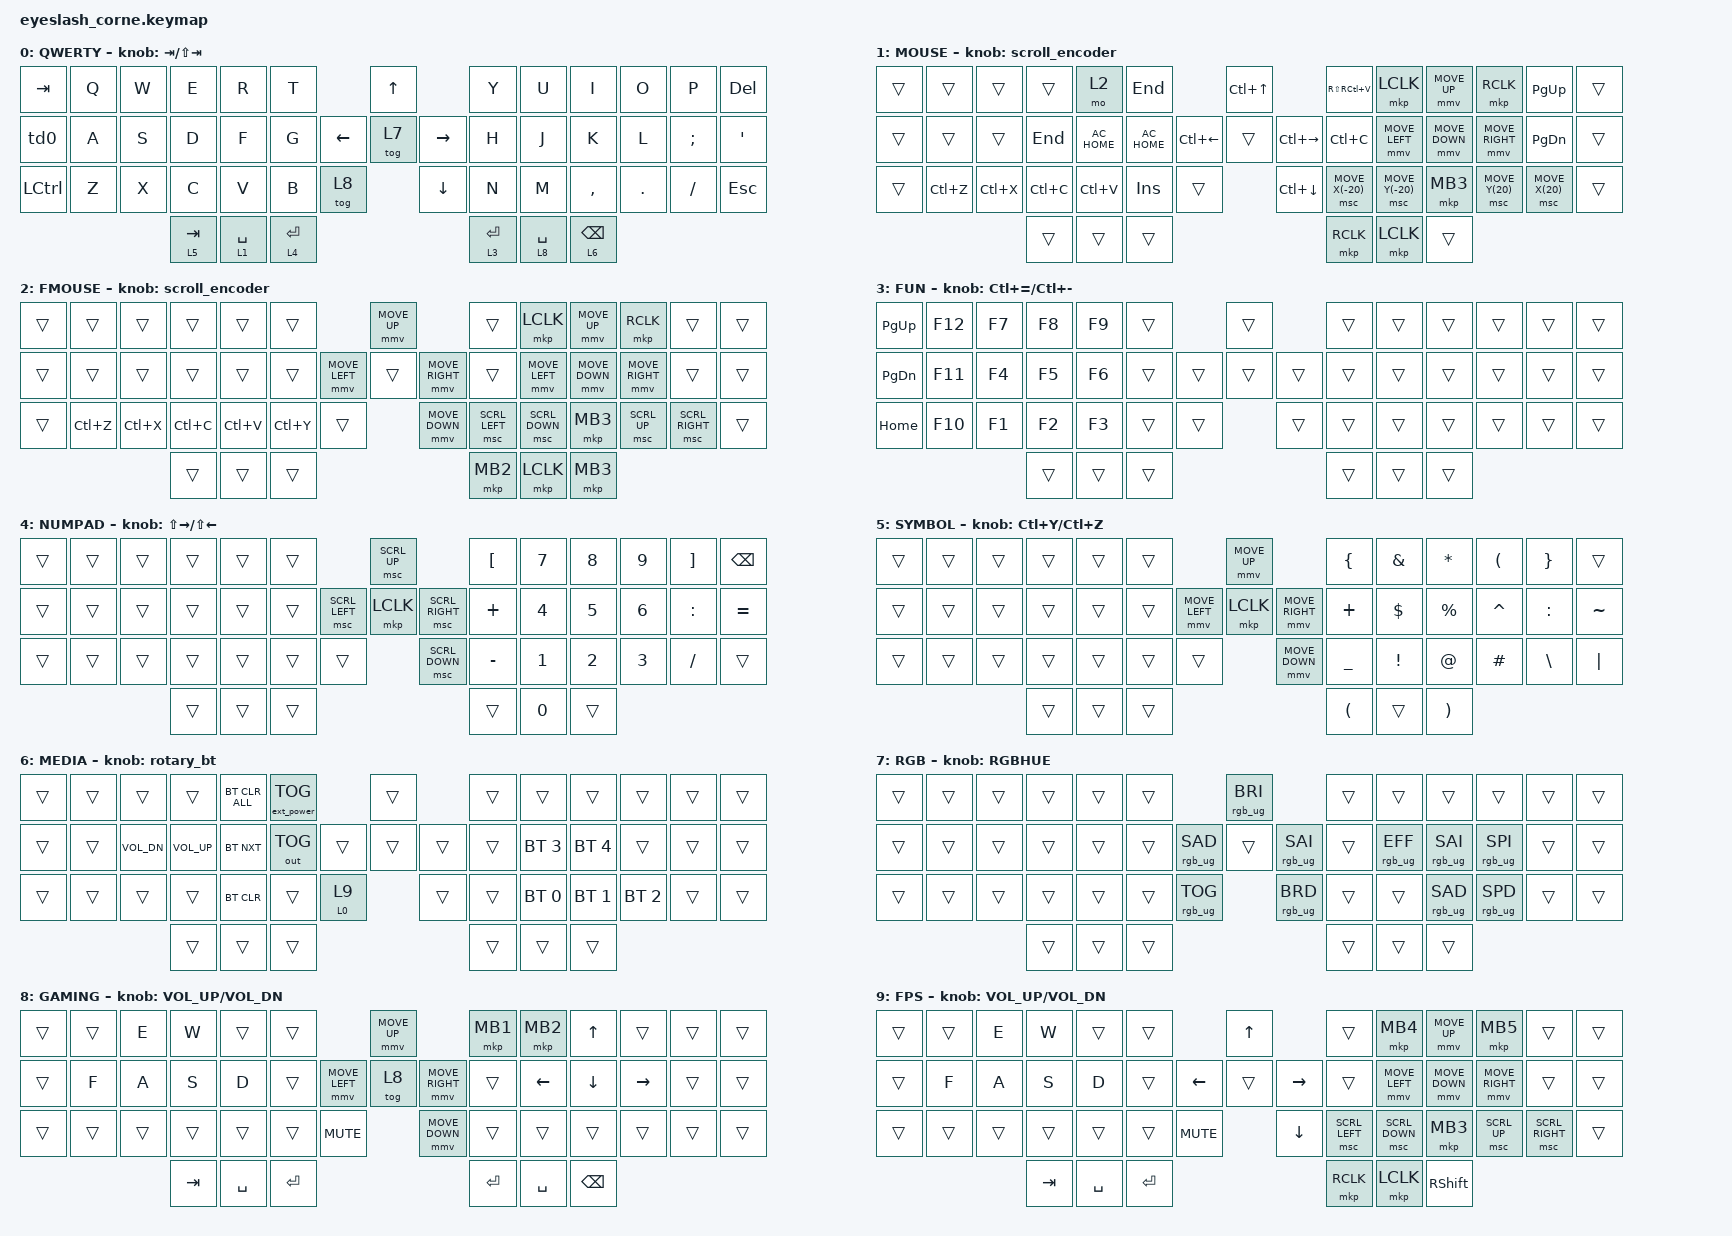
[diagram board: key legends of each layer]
#define  ZMK_POINTING_DEFAULT_MOVE_VAL 1200  // 600
#define ZMK_POINTING_DEFAULT_SCRL_VAL 100   // 50

#include <input/processors.dtsi>
#include <zephyr/dt-bindings/input/input-event-codes.h>
#include <behaviors.dtsi>
#include <dt-bindings/zmk/bt.h>
#include <dt-bindings/zmk/ext_power.h>
#include <dt-bindings/zmk/keys.h>
#include <dt-bindings/zmk/outputs.h>
#include <dt-bindings/zmk/pointing.h>
#include <dt-bindings/zmk/rgb.h>

&mmv_input_listener {
    input-processors = <&zip_xy_scaler 2 1>;

    fast-input {
        layers = <5>;
        input-processors = <&zip_xy_scaler 4 1>;
    };
};

&msc {
    acceleration-exponent = <1>;        // 1
    time-to-max-speed-ms = <100>;       // 100
    delay-ms = <0>;                   // 0
};

&mmv {
    time-to-max-speed-ms = <500>;
    acceleration-exponent = <1>;
    trigger-period-ms = <16>;
};

/ {
    behaviors {
        td0: td0 {
            compatible = "zmk,behavior-tap-dance";
            display-name = "Shift/Caps Lock Tap Dance";
            #binding-cells = <0>;
            bindings = <&kp LEFT_SHIFT>, <&kp CAPS>;
        };

        rotary_toggle: rotary_toggle {
            compatible = "zmk,behavior-hold-tap";
            label = "ROTARY_TOGGLE";
            bindings = <&tog>, <&kp>;

            #binding-cells = <2>;
            tapping-term-ms = <1>;
            flavor = "balanced";
            require-prior-idle-ms = <75>;
        };

        rotary_rgb_toggle: rotary_rgb_toggle {
            compatible = "zmk,behavior-hold-tap";
            label = "ROTARY_RGB_TOGGLE";
            bindings = <&to>, <&rgb_ug>;

            #binding-cells = <2>;
            tapping-term-ms = <1>;
        };

        rotary_bt: rotary_bt {
            compatible = "zmk,behavior-sensor-rotate";
            label = "ROTARY_BT";
            #sensor-binding-cells = <0>;
            bindings = <&bt BT_NXT>, <&bt BT_PRV>;
        };

        AppSwitch: AppSwitch {
            compatible = "zmk,behavior-sensor-rotate";
            label = "APPSWITCH";
            #sensor-binding-cells = <0>;
            bindings = <&FApp>, <&RAlt>;
        };

        slow_scroll: slow_scroll {
            compatible = "zmk,behavior-sensor-rotate";
            #sensor-binding-cells = <0>;
            bindings = <&msc MOVE_Y(-5)>, <&msc MOVE_Y(5)>;

            tap-ms = <100>;
            label = "SLOW_SCROLL";
        };

        RGBHUE: RGBHUE {
            compatible = "zmk,behavior-sensor-rotate";
            #sensor-binding-cells = <0>;
            bindings = <&rgb_ug RGB_HUI>, <&rgb_ug RGB_HUD>;

            label = "RGBHUE";
        };

        RGBSAT: RGBSAT {
            compatible = "zmk,behavior-sensor-rotate";
            #sensor-binding-cells = <0>;
            bindings = <&rgb_ug RGB_SAI>, <&rgb_ug RGB_SAD>;

            label = "RGBSAT";
        };

        RGBSPD: RGBSPD {
            compatible = "zmk,behavior-sensor-rotate";
            #sensor-binding-cells = <0>;
            bindings = <&rgb_ug RGB_SPI>, <&rgb_ug RGB_SPD>;

            label = "RGBSPD";
        };

        SYSTOG: SYSTOG {
            compatible = "zmk,behavior-hold-tap";
            label = "SYSTOG";
            bindings = <&to>, <&tog>;

            #binding-cells = <2>;
            flavor = "tap-preferred";
            tapping-term-ms = <500>;
        };

        SYSTO: SYSTO {
            compatible = "zmk,behavior-hold-tap";
            label = "SYSTO";
            bindings = <&to>, <&to>;

            #binding-cells = <2>;
            flavor = "tap-preferred";
            tapping-term-ms = <500>;
        };

        TAPTO: TAPTO {
            compatible = "zmk,behavior-hold-tap";
            label = "TAPTO";
            bindings = <&to>, <&gresc>;

            #binding-cells = <2>;
            flavor = "tap-preferred";
            tapping-term-ms = <500>;
        };
    };

    rgb_encoder: rgb_encoder {
        compatible = "zmk,behavior-sensor-rotate";
        #sensor-binding-cells = <0>;
        bindings = <&rgb_ug RGB_BRI>, <&rgb_ug RGB_BRD>;
    };

    scroll_encoder: scroll_encoder {
        compatible = "zmk,behavior-sensor-rotate";
        #sensor-binding-cells = <0>;
        bindings = <&msc MOVE_Y(-20)>, <&msc MOVE_Y(20)>;

        tap-ms = <100>;
    };

    combos {
        compatible = "zmk,combos";

        LeftAlt {
            bindings = <&kp LEFT_ALT>;
            key-positions = <17 16>;
            layers = <1 4 5 0 3>;
        };

        LeftShift {
            bindings = <&td0>;
            key-positions = <16 15>;
            layers = <5 4 1 0 3>;
        };

        LeftCtrl {
            bindings = <&kp LEFT_CONTROL>;
            key-positions = <15 14>;
            layers = <1 4 5 0 3>;
        };

        LeftSuper {
            bindings = <&kp LEFT_WIN>;
            key-positions = <14 17>;
            layers = <1 4 5 0 3>;
        };

        RSuper {
            bindings = <&kp RIGHT_WIN>;
            key-positions = <26 23>;
            layers = <3 0 4 5>;
        };

        RCtrl {
            bindings = <&kp RIGHT_CONTROL>;
            key-positions = <25 26>;
            layers = <3 0 4 5>;
        };

        RShift {
            bindings = <&td0>;
            key-positions = <24 25>;
            layers = <3 0 4 5>;
        };

        RAlt {
            bindings = <&kp RIGHT_ALT>;
            key-positions = <23 24>;
            layers = <3 0 4 5>;
        };

        Mouselock {
            bindings = <&tog 1>;
            key-positions = <43 17>;
            layers = <1 4 3 5 9 0 8>;
        };

        FunLock {
            bindings = <&tog 3>;
            key-positions = <23 45>;
            layers = <5 0>;
        };

        NumLock {
            bindings = <&tog 4>;
            key-positions = <17 44>;
            layers = <4 0>;
        };

        SymLock {
            bindings = <&tog 5>;
            key-positions = <17 42>;
            layers = <5 0>;
        };

        MediaLock {
            bindings = <&tog 6>;
            key-positions = <23 47>;
            layers = <6 0>;
        };

        LDefault {
            bindings = <&to 0>;
            key-positions = <13 17>;
            layers = <0 1 3 4 5 9 6 2 7 8>;
        };

        RDefault {
            bindings = <&to 0>;
            key-positions = <23 27>;
            layers = <9 1 3 0 4 5 6 2 7 8>;
        };

        LRPT {
            bindings = <&key_repeat>;
            key-positions = <31 32>;
            layers = <9 3 4 5 1 0>;
        };

        RRPT {
            bindings = <&key_repeat>;
            key-positions = <37 38>;
            layers = <9 3 4 5 1 0>;
        };

        GameLock {
            bindings = <&tog 8>;
            key-positions = <23 46>;
            layers = <1 4 3 5 6 0 8>;
        };
    };

    macros {
        FApp: FApp {
            compatible = "zmk,behavior-macro";
            #binding-cells = <0>;
            bindings = <&kp RIGHT_ALT &kp LEFT_WIN &kp TAB>;
            label = "FAPP";
        };

        RAlt: RApp {
            compatible = "zmk,behavior-macro";
            #binding-cells = <0>;
            bindings = <&kp LEFT_ALT &kp LEFT_WIN &kp LEFT_SHIFT &kp TAB>;
            label = "RAPP";
        };
    };

    keymap {
        compatible = "zmk,keymap";

        BASE {
            display-name = "QWERTY";
            bindings = <
&kp TAB    &kp Q  &kp W  &kp E      &kp R        &kp T                            &kp UP               &kp Y         &kp U        &kp I            &kp O    &kp P     &kp DELETE
&td0       &kp A  &kp S  &kp D      &kp F        &kp G                  &kp LEFT  &tog 7    &kp RIGHT  &kp H         &kp J        &kp K            &kp L    &kp SEMI  &kp SQT
&kp LCTRL  &kp Z  &kp X  &kp C      &kp V        &kp B        &tog 8              &kp DOWN             &kp N         &kp M        &kp COMMA        &kp DOT  &kp FSLH  &kp ESC
                         &lt 5 TAB  &lt 1 SPACE  &lt 4 ENTER                                           &lt 3 RETURN  &lt 8 SPACE  &lt 6 BACKSPACE
            >;

            sensor-bindings = <&inc_dec_kp TAB LS(TAB)>;
        };

        Mouse_Layer {
            display-name = "MOUSE";
            bindings = <
&trans  &trans     &trans     &trans     &mo 2          &kp END                                &kp LC(UP_ARROW)                   &kp RS(RC(V))     &mkp LCLK         &mmv MOVE_UP    &mkp RCLK        &kp PAGE_UP      &trans
&trans  &trans     &trans     &kp END    &kp C_AC_HOME  &kp C_AC_HOME            &kp LC(LEFT)  &trans              &kp LC(RIGHT)  &kp LC(C)         &mmv MOVE_LEFT    &mmv MOVE_DOWN  &mmv MOVE_RIGHT  &kp PAGE_DOWN    &trans
&trans  &kp LC(Z)  &kp LC(X)  &kp LC(C)  &kp LC(V)      &kp INSERT     &trans                  &kp LC(DOWN_ARROW)                 &msc MOVE_X(-20)  &msc MOVE_Y(-20)  &mkp MB3        &msc MOVE_Y(20)  &msc MOVE_X(20)  &trans
                              &trans     &trans         &trans                                                                    &mkp RCLK         &mkp LCLK         &trans
            >;

            sensor-bindings = <&scroll_encoder>;
        };

        Fast_Mouse {
            display-name = "FMOUSE";
            bindings = <
&trans  &trans     &trans     &trans     &trans     &trans                               &mmv MOVE_UP                     &trans          &mkp LCLK       &mmv MOVE_UP    &mkp RCLK        &trans           &trans
&trans  &trans     &trans     &trans     &trans     &trans               &mmv MOVE_LEFT  &trans          &mmv MOVE_RIGHT  &trans          &mmv MOVE_LEFT  &mmv MOVE_DOWN  &mmv MOVE_RIGHT  &trans           &trans
&trans  &kp LC(Z)  &kp LC(X)  &kp LC(C)  &kp LC(V)  &kp LC(Y)  &trans                    &mmv MOVE_DOWN                   &msc SCRL_LEFT  &msc SCRL_DOWN  &mkp MB3        &msc SCRL_UP     &msc SCRL_RIGHT  &trans
                              &trans     &trans     &trans                                                                &mkp MB2        &mkp LCLK       &mkp MB3
            >;

            sensor-bindings = <&scroll_encoder>;
        };

        FUNCTION {
            display-name = "FUN";
            bindings = <
&kp PG_UP  &kp F12  &kp F7  &kp F8  &kp F9  &trans                    &trans          &trans  &trans  &trans  &trans  &trans  &trans
&kp PG_DN  &kp F11  &kp F4  &kp F5  &kp F6  &trans            &trans  &trans  &trans  &trans  &trans  &trans  &trans  &trans  &trans
&kp HOME   &kp F10  &kp F1  &kp F2  &kp F3  &trans  &trans            &trans          &trans  &trans  &trans  &trans  &trans  &trans
                            &trans  &trans  &trans                                    &trans  &trans  &trans
            >;

            sensor-bindings = <&inc_dec_kp LC(EQUAL) LC(MINUS)>;
        };

        NUMPAD {
            display-name = "NUMPAD";
            bindings = <
&trans  &trans  &trans  &trans  &trans  &trans                            &msc SCRL_UP                     &kp LEFT_BRACKET  &kp N7  &kp N8  &kp N9  &kp RIGHT_BRACKET  &kp BSPC
&trans  &trans  &trans  &trans  &trans  &trans            &msc SCRL_LEFT  &mkp LCLK       &msc SCRL_RIGHT  &kp PLUS          &kp N4  &kp N5  &kp N6  &kp COLON          &kp EQUAL
&trans  &trans  &trans  &trans  &trans  &trans  &trans                    &msc SCRL_DOWN                   &kp MINUS         &kp N1  &kp N2  &kp N3  &kp SLASH          &trans
                        &trans  &trans  &trans                                                             &trans            &kp N0  &trans
            >;

            sensor-bindings = <&inc_dec_kp LS(RIGHT) LS(LEFT)>;
        };

        SYMBOL {
            display-name = "SYMBOL";
            bindings = <
&trans  &trans  &trans  &trans  &trans  &trans                            &mmv MOVE_UP                     &kp LEFT_BRACE        &kp AMPS    &kp STAR               &kp LEFT_PARENTHESIS  &kp RIGHT_BRACE  &trans
&trans  &trans  &trans  &trans  &trans  &trans            &mmv MOVE_LEFT  &mkp LCLK       &mmv MOVE_RIGHT  &kp PLUS              &kp DOLLAR  &kp PERCENT            &kp CARET             &kp COLON        &kp TILDE
&trans  &trans  &trans  &trans  &trans  &trans  &trans                    &mmv MOVE_DOWN                   &kp UNDER             &kp EXCL    &kp AT                 &kp HASH              &kp BACKSLASH    &kp PIPE
                        &trans  &trans  &trans                                                             &kp LEFT_PARENTHESIS  &trans      &kp RIGHT_PARENTHESIS
            >;

            sensor-bindings = <&inc_dec_kp LC(Y) LC(Z)>;
        };

        MediaControls {
            display-name = "MEDIA";
            bindings = <
&trans  &trans  &trans        &trans           &bt BT_CLR_ALL  &ext_power EP_TOG                        &trans          &trans  &trans        &trans        &trans        &trans  &trans
&trans  &trans  &kp C_VOL_DN  &kp C_VOLUME_UP  &bt BT_NXT      &out OUT_TOG                     &trans  &trans  &trans  &trans  &bt BT_SEL 3  &bt BT_SEL 4  &trans        &trans  &trans
&trans  &trans  &trans        &trans           &bt BT_CLR      &trans             &SYSTO 0 9            &trans          &trans  &bt BT_SEL 0  &bt BT_SEL 1  &bt BT_SEL 2  &trans  &trans
                              &trans           &trans          &trans                                                   &trans  &trans        &trans
            >;

            sensor-bindings = <&rotary_bt>;
        };

        RGB {
            display-name = "RGB";
            bindings = <
&trans  &trans  &trans  &trans  &trans  &trans                                      &rgb_ug RGB_BRI                   &trans  &trans           &trans           &trans           &trans  &trans
&trans  &trans  &trans  &trans  &trans  &trans                     &rgb_ug RGB_SAD  &trans           &rgb_ug RGB_SAI  &trans  &rgb_ug RGB_EFF  &rgb_ug RGB_SAI  &rgb_ug RGB_SPI  &trans  &trans
&trans  &trans  &trans  &trans  &trans  &trans  &rgb_ug RGB_TOG                     &rgb_ug RGB_BRD                   &trans  &trans           &rgb_ug RGB_SAD  &rgb_ug RGB_SPD  &trans  &trans
                        &trans  &trans  &trans                                                                        &trans  &trans           &trans
            >;

            sensor-bindings = <&RGBHUE>;
        };

        Gamepad {
            display-name = "GAMING";
            bindings = <
&trans  &trans  &kp E   &kp W    &trans     &trans                                   &mmv MOVE_UP                     &mkp MB1   &mkp MB2   &kp UP_ARROW   &trans     &trans  &trans
&trans  &kp F   &kp A   &kp S    &kp D      &trans                   &mmv MOVE_LEFT  &tog 8          &mmv MOVE_RIGHT  &trans     &kp LEFT   &kp DOWN       &kp RIGHT  &trans  &trans
&trans  &trans  &trans  &trans   &trans     &trans     &kp K_MUTE                    &mmv MOVE_DOWN                   &trans     &trans     &trans         &trans     &trans  &trans
                        &kp TAB  &kp SPACE  &kp ENTER                                                                 &kp ENTER  &kp SPACE  &kp BACKSPACE
            >;

            sensor-bindings = <&inc_dec_kp C_VOLUME_UP C_VOL_DN>;
        };

        FPS {
            display-name = "FPS";
            bindings = <
&trans  &trans  &kp E   &kp W    &trans     &trans                                   &kp UP_ARROW             &trans          &mkp MB4        &mmv MOVE_UP     &mkp MB5         &trans           &trans
&trans  &kp F   &kp A   &kp S    &kp D      &trans                   &kp LEFT_ARROW  &trans        &kp RIGHT  &trans          &mmv MOVE_LEFT  &mmv MOVE_DOWN   &mmv MOVE_RIGHT  &trans           &trans
&trans  &trans  &trans  &trans   &trans     &trans     &kp K_MUTE                    &kp DOWN                 &msc SCRL_LEFT  &msc SCRL_DOWN  &mkp MB3         &msc SCRL_UP     &msc SCRL_RIGHT  &trans
                        &kp TAB  &kp SPACE  &kp ENTER                                                         &mkp RCLK       &mkp LCLK       &kp RIGHT_SHIFT
            >;

            sensor-bindings = <&inc_dec_kp C_VOLUME_UP C_VOL_DN>;
        };
    };

    conditional_layers {
        compatible = "zmk,conditional-layers";

        FPS {
            if-layers = <8 1>;
            then-layer = <9>;
        };
    };
};
